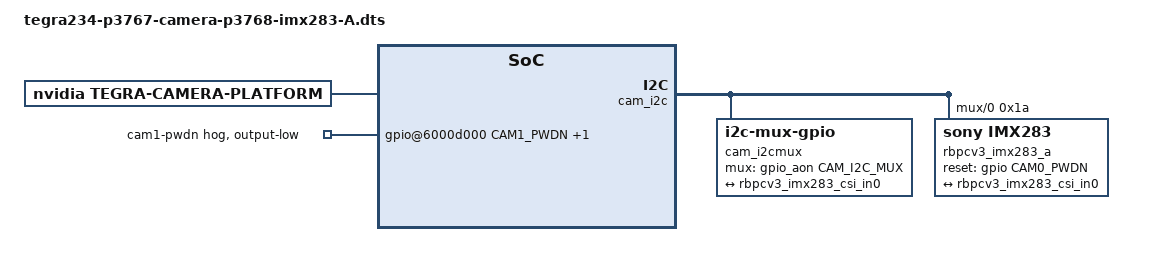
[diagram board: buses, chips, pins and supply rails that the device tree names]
// SPDX-License-Identifier: GPL-2.0-only
// SPDX-FileCopyrightText: Copyright (c) 2025, NVIDIA CORPORATION & AFFILIATES. All rights reserved.
// SPDX-FileCopyrightText: Copyright (c) 2026, UAB Kurokesu. All rights reserved.

/dts-v1/;
/plugin/;

#define CAM0_PWDN	TEGRA234_MAIN_GPIO(H, 6)
#define CAM1_PWDN	TEGRA234_MAIN_GPIO(AC, 0)
#define CAM_I2C_MUX	TEGRA234_AON_GPIO(CC, 3)

#include <dt-bindings/tegra234-p3767-0000-common.h>

/ {
	overlay-name = "Camera IMX283-A";
	jetson-header-name = "Jetson 22pin CSI Connector";
	compatible = JETSON_COMPATIBLE_P3768;
	/* IMX283 connected to cam0 port -- 4-lane CSI */

	fragment@0 {
		target-path = "/";
		__overlay__ {
			tegra-capture-vi {
				num-channels = <1>;
				ports {
					#address-cells = <1>;
					#size-cells = <0>;
					port@0 {
						reg = <0>;
						rbpcv3_imx283_vi_in0: endpoint {
							port-index = <0>;
							bus-width = <4>;
							remote-endpoint = <&rbpcv3_imx283_csi_out0>;
						};
					};
				};
			};
			tegra-camera-platform {
				compatible = "nvidia, tegra-camera-platform";
				num_csi_lanes = <4>;
				max_lane_speed = <1500000>;
				min_bits_per_pixel = <12>;
				vi_peak_byte_per_pixel = <2>;
				vi_bw_margin_pct = <25>;
				max_pixel_rate = <7500000>;
				isp_peak_byte_per_pixel = <5>;
				isp_bw_margin_pct = <25>;

				modules {
					module0 {
						badge = "kurokesu_front_283M12";
						position = "front";
						orientation = "0";
						drivernode0 {
							pcl_id = "v4l2_sensor";
							sysfs-device-tree = "/sys/firmware/devicetree/base/bus@0/cam_i2cmux/i2c@0/rbpcv3_imx283_a@1a";
						};
					};
				};
			};
			bus@0 {
				host1x@13e00000 {
					nvcsi@15a00000 {
						num-channels = <1>;
						#address-cells = <1>;
						#size-cells = <0>;
						channel@0 {
							reg = <0>;
							ports {
								#address-cells = <1>;
								#size-cells = <0>;
								port@0 {
									reg = <0>;
									rbpcv3_imx283_csi_in0: endpoint@0 {
										port-index = <0>;
										bus-width = <4>;
										remote-endpoint = <&rbpcv3_imx283_out0>;
									};
								};
								port@1 {
									reg = <1>;
									rbpcv3_imx283_csi_out0: endpoint@1 {
										remote-endpoint = <&rbpcv3_imx283_vi_in0>;
									};
								};
							};
						};
					};
				};
				cam_i2cmux {
					status = "okay";
					compatible = "i2c-mux-gpio";
					#address-cells = <1>;
					#size-cells = <0>;
					mux-gpios = <&gpio_aon CAM_I2C_MUX GPIO_ACTIVE_HIGH>;
					i2c-parent = <&cam_i2c>;
					i2c@0 {
						status = "okay";
						reg = <0>;
						#address-cells = <1>;
						#size-cells = <0>;
						rbpcv3_imx283_a@1a {
							reset-gpios = <&gpio CAM0_PWDN GPIO_ACTIVE_HIGH>;
							compatible = "sony,imx283";
							reg = <0x1a>;
							devnode = "video0";

							physical_w = "15.0";
							physical_h = "10.0";
							sensor_model = "imx283";

							delayed_gain = "false";
							use_decibel_gain = "false";
							use_sensor_mode_id = "true";

							mode0 { /* IMX283_MODE_5472X3648_12BIT_4LANE */
								mclk_khz = "24000";
								num_lanes = "4";
								tegra_sinterface = "serial_a";
								phy_mode = "DPHY";
								discontinuous_clk = "no";
								dpcm_enable = "false";
								cil_settletime = "0";
								lane_polarity = "6";

								active_w = "5472";
								active_h = "3648";
								mode_type = "bayer";
								pixel_phase = "rggb";
								csi_pixel_bit_depth = "12";
								readout_orientation = "0";

								/*
								 * Timing uses the 72 MHz internal clock.
								 * HMAX = 900 (72 MHz clocks), VMAX = 4000.
								 */
								line_length = "900";
								inherent_gain = "1";
								mclk_multiplier = "4";
								pix_clk_hz = "72000000";

								/*
								 * Gain: raw register units 0..1957.
								 * gain[dB] = -20*log10((2048 - reg) / 2048)
								 */
								gain_factor = "1";
								min_gain_val = "0";
								max_gain_val = "1957";
								step_gain_val = "1";
								default_gain = "0";

								framerate_factor = "1000000";
								min_framerate = "1000000";    /* 1 fps */
								max_framerate = "21000000";   /* 21 fps */
								step_framerate = "1";
								default_framerate = "20000000"; /* 20 fps */

								exposure_factor = "1000000";
								min_exp_time = "50";          /* 50 us */
								max_exp_time = "49860";       /* ~49.9 ms */
								step_exp_time = "1";
								default_exp_time = "10000";   /* 10 ms */

								min_hdr_ratio = "1";
								max_hdr_ratio = "1";

								embedded_metadata_height = "0";
							};
							ports {
								#address-cells = <1>;
								#size-cells = <0>;
								port@0 {
									reg = <0>;
									rbpcv3_imx283_out0: endpoint {
										port-index = <0>;
										bus-width = <4>;
										remote-endpoint = <&rbpcv3_imx283_csi_in0>;
									};
								};
							};
						};
					};
				};
				gpio@6000d000 {
					camera-control-output-low {
						gpio-hog;
						output-low;
						gpios = <CAM1_PWDN 0 CAM0_PWDN 0>;
						label = "cam1-pwdn", "cam0-pwdn";
					};
				};
			};
		};
	};
};
